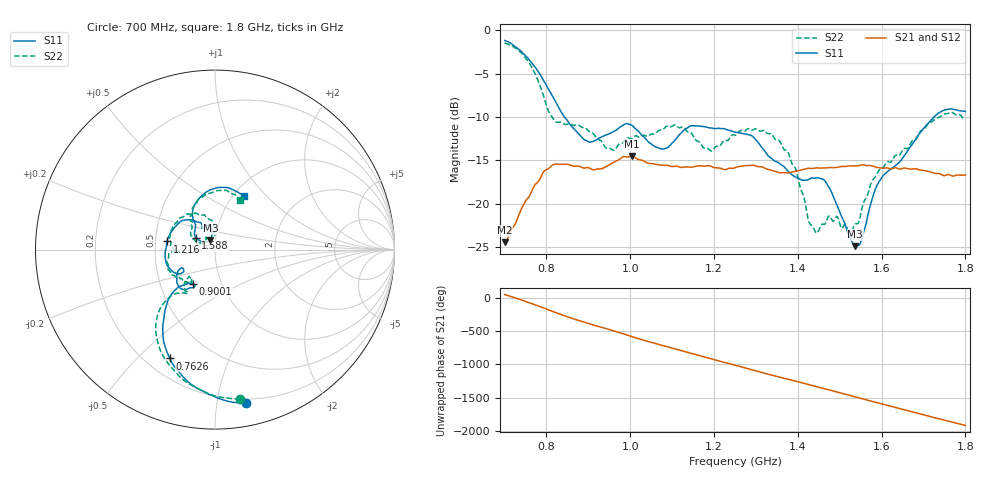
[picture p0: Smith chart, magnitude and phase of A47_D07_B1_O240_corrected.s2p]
! Created with skrf 1.9.0 (http://scikit-rf.org).
# Hz S RI R 50.0
!freq ReS11 ImS11 ReS21 ImS21 ReS12 ImS12 ReS22 ImS22
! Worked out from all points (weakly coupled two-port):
!   1601 points, 700 MHz to 1.8 GHz, reference 50 ohm
!   highest |S21| = -14.52 dB at 1.003 GHz (marker M1); lowest = -24.5 dB at 700.7 MHz (marker M2)
!   lowest |S11| = -24.9 dB at 1.537 GHz (marker M3), VSWR 1.12, Z = 47.3 + j4.83 ohm
!   |S11| at or under -10 dB: 842.9 MHz to 1.725 GHz (882.5 MHz wide, 68.7 % of centre)
!   |S22| runs from -23.8 to -1.5 dB; largest |S21 - S12| = 0.0035
!   S11 on the Smith chart (normalised r, x): 700 MHz: 0.17, -1.21; 762.6 MHz: 0.29, -0.63; 900.1 MHz: 0.73, -0.30; 1.216 GHz: 0.58, +0.06; 1.588 GHz: 0.80, +0.11; 1.8 GHz: 1.12, +0.76
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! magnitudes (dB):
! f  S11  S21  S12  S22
! 700 MHz  -1.2  -24.5  -24.2  -1.5
! 700.7 MHz  -1.2  -24.5  -24.2  -1.5
! 762.6 MHz  -3.7  -18.8  -18.8  -4.1
! 817.6 MHz  -7.8  -15.5  -15.6  -10.3
! 883.6 MHz  -12.3  -15.8  -15.7  -11.2
! 900.1 MHz  -12.9  -15.9  -15.9  -11.6
! 958.5 MHz  -11.7  -15.3  -15.3  -13.8
! 1.003 GHz  -10.9  -14.5  -14.6  -12.5
! 1.067 GHz  -13.6  -15.5  -15.5  -11.6
! 1.144 GHz  -11.0  -15.8  -15.8  -11.8
! 1.216 GHz  -11.3  -15.9  -15.9  -13.2
! 1.25 GHz  -11.7  -15.9  -15.8  -12.1
! 1.357 GHz  -15.4  -16.4  -16.4  -12.8
! 1.394 GHz  -16.9  -16.3  -16.3  -15.9
! 1.434 GHz  -17.0  -15.9  -15.9  -22.6
! 1.47 GHz  -17.8  -15.9  -15.9  -21.8
! 1.537 GHz  -24.9  -15.6  -15.6  -22.4
! 1.551 GHz  -24.3  -15.5  -15.6  -21.0
! 1.588 GHz  -18.0  -15.8  -15.8  -16.6
! 1.617 GHz  -16.2  -15.9  -15.9  -15.2
! 1.733 GHz  -9.6  -16.5  -16.5  -10.1
! 1.8 GHz  -9.4  -16.7  -16.7  -10.1
